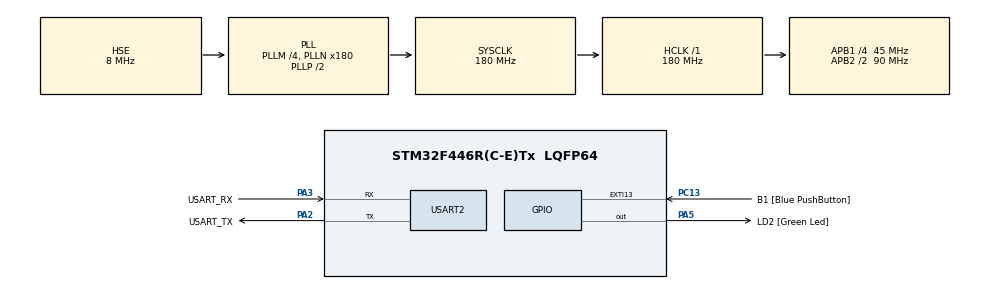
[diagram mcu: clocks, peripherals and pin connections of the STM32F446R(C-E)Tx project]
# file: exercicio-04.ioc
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FREERTOS.Mutexes01=myMutex,Dynamic,NULL,Available
FREERTOS.Tasks01=Task01,32,128,StartTask01,Default,NULL,Dynamic,NULL,NULL;Task02,24,128,StartTask02,Default,NULL,Dynamic,NULL,NULL
FREERTOS.configUSE_NEWLIB_REENTRANT=1
Mcu.Family=STM32F4
Mcu.Name=STM32F446R(C-E)Tx
Mcu.Package=LQFP64
NVIC.EXTI15_10_IRQn=true\:5\:0\:false\:false\:true\:true\:true\:true\:true
NVIC.PriorityGroup=NVIC_PRIORITYGROUP_4
NVIC.TIM2_IRQn=true\:15\:0\:false\:false\:true\:false\:false\:true\:true
NVIC.TimeBase=TIM2_IRQn
NVIC.TimeBaseIP=TIM2
PA13.GPIO_Label=TMS
PA13.Mode=Serial_Wire
PA13.Signal=SYS_JTMS-SWDIO
PA14.GPIO_Label=TCK
PA14.Mode=Serial_Wire
PA14.Signal=SYS_JTCK-SWCLK
PA2.GPIO_Label=USART_TX
PA2.Mode=Asynchronous
PA2.Signal=USART2_TX
PA3.GPIO_Label=USART_RX
PA3.Mode=Asynchronous
PA3.Signal=USART2_RX
PA5.GPIO_Label=LD2 [Green Led]
PA5.Signal=GPIO_Output
PB3.GPIO_Label=SWO
PB3.Signal=SYS_JTDO-SWO
PC13.GPIO_Label=B1 [Blue PushButton]
PC13.GPIO_ModeDefaultEXTI=GPIO_MODE_IT_FALLING
PC13.Signal=GPXTI13
PC14-OSC32_IN.Mode=LSE-External-Oscillator
PC14-OSC32_IN.Signal=RCC_OSC32_IN
PC15-OSC32_OUT.Mode=LSE-External-Oscillator
PC15-OSC32_OUT.Signal=RCC_OSC32_OUT
PH0-OSC_IN.Mode=HSE-External-Oscillator
PH0-OSC_IN.Signal=RCC_OSC_IN
PH1-OSC_OUT.Mode=HSE-External-Oscillator
PH1-OSC_OUT.Signal=RCC_OSC_OUT
ProjectManager.HeapSize=0x200
ProjectManager.StackSize=0x400
ProjectManager.TargetToolchain=STM32CubeIDE
RCC.48MHZClocksFreq_Value=84000000
RCC.AHBFreq_Value=180000000
RCC.APB1CLKDivider=RCC_HCLK_DIV4
RCC.APB1Freq_Value=45000000
RCC.APB1TimFreq_Value=90000000
RCC.APB2CLKDivider=RCC_HCLK_DIV2
RCC.APB2Freq_Value=90000000
RCC.APB2TimFreq_Value=180000000
RCC.CortexFreq_Value=180000000
RCC.FLatency-AdvancedSettings=FLASH_LATENCY_5
RCC.HCLKFreq_Value=180000000
RCC.HSE_VALUE=8000000
RCC.HSI_VALUE=16000000
RCC.PLLM=4
RCC.PLLN=180
RCC.PLLSourceVirtual=RCC_PLLSOURCE_HSE
RCC.SYSCLKFreq_VALUE=180000000
RCC.SYSCLKSource=RCC_SYSCLKSOURCE_PLLCLK
RCC.USBFreq_Value=180000000
RCC.VCOOutputFreq_Value=360000000
USART2.VirtualMode=VM_ASYNC
VP_FREERTOS_VS_CMSIS_V2.Mode=CMSIS_V2
VP_SYS_VS_tim2.Mode=TIM2
board=NUCLEO-F446RE

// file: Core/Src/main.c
/* USER CODE BEGIN Header */
/**
  ******************************************************************************
  * @file           : main.c
  * @brief          : Main program body
  ******************************************************************************
  * @attention
  *
  * Copyright (c) 2025 STMicroelectronics.
  * All rights reserved.
  *
  * This software is licensed under terms that can be found in the LICENSE file
  * in the root directory of this software component.
  * If no LICENSE file comes with this software, it is provided AS-IS.
  *
  ******************************************************************************
  */
/* USER CODE END Header */
#include "main.h"
#include "cmsis_os.h"

/* USER CODE BEGIN Includes */
#include <stdio.h>
#include <string.h>
/* USER CODE END Includes */

UART_HandleTypeDef huart2;

/* Definitions for Task01 */
osThreadId_t Task01Handle;
const osThreadAttr_t Task01_attributes = {
  .name = "Task01",
  .stack_size = 128 * 4,
  .priority = (osPriority_t) osPriorityAboveNormal,
};
/* Definitions for Task02 */
osThreadId_t Task02Handle;
const osThreadAttr_t Task02_attributes = {
  .name = "Task02",
  .stack_size = 128 * 4,
  .priority = (osPriority_t) osPriorityNormal,
};
/* Definitions for myMutex */
osMutexId_t myMutexHandle;
const osMutexAttr_t myMutex_attributes = {
  .name = "myMutex"
};
/* USER CODE BEGIN PV */
char buffer[50];
osStatus_t status;

/* USER CODE END PV */

void SystemClock_Config(void);
static void MX_GPIO_Init(void);
static void MX_USART2_UART_Init(void);
void StartTask01(void *argument);
void StartTask02(void *argument);

int main(void)
{

  /* MCU Configuration--------------------------------------------------------*/

  /* Reset of all peripherals, Initializes the Flash interface and the Systick. */
  HAL_Init();

  /* Configure the system clock */
  SystemClock_Config();

  /* Initialize all configured peripherals */
  MX_GPIO_Init();
  MX_USART2_UART_Init();

  /* Init scheduler */
  osKernelInitialize();
  /* Create the mutex(es) */
  /* creation of myMutex */
  myMutexHandle = osMutexNew(&myMutex_attributes);

  /* Create the thread(s) */
  /* creation of Task01 */
  Task01Handle = osThreadNew(StartTask01, NULL, &Task01_attributes);

  /* creation of Task02 */
  Task02Handle = osThreadNew(StartTask02, NULL, &Task02_attributes);

  /* Start scheduler */
  osKernelStart();

  /* We should never get here as control is now taken by the scheduler */

  /* Infinite loop */
  while (1)
  {

  }
}

void SystemClock_Config(void)
{
  RCC_OscInitTypeDef RCC_OscInitStruct = {0};
  RCC_ClkInitTypeDef RCC_ClkInitStruct = {0};

  /** Configure the main internal regulator output voltage
  */
  __HAL_RCC_PWR_CLK_ENABLE();
  __HAL_PWR_VOLTAGESCALING_CONFIG(PWR_REGULATOR_VOLTAGE_SCALE1);

  /** Initializes the RCC Oscillators according to the specified parameters
  * in the RCC_OscInitTypeDef structure.
  */
  RCC_OscInitStruct.OscillatorType = RCC_OSCILLATORTYPE_HSE;
  RCC_OscInitStruct.HSEState = RCC_HSE_ON;
  RCC_OscInitStruct.PLL.PLLState = RCC_PLL_ON;
  RCC_OscInitStruct.PLL.PLLSource = RCC_PLLSOURCE_HSE;
  RCC_OscInitStruct.PLL.PLLM = 4;
  RCC_OscInitStruct.PLL.PLLN = 180;
  RCC_OscInitStruct.PLL.PLLP = RCC_PLLP_DIV2;
  RCC_OscInitStruct.PLL.PLLQ = 2;
  RCC_OscInitStruct.PLL.PLLR = 2;
  if (HAL_RCC_OscConfig(&RCC_OscInitStruct) != HAL_OK)
  {
    Error_Handler();
  }

  /** Activate the Over-Drive mode
  */
  if (HAL_PWREx_EnableOverDrive() != HAL_OK)
  {
    Error_Handler();
  }

  /** Initializes the CPU, AHB and APB buses clocks
  */
  RCC_ClkInitStruct.ClockType = RCC_CLOCKTYPE_HCLK|RCC_CLOCKTYPE_SYSCLK
                              |RCC_CLOCKTYPE_PCLK1|RCC_CLOCKTYPE_PCLK2;
  RCC_ClkInitStruct.SYSCLKSource = RCC_SYSCLKSOURCE_PLLCLK;
  RCC_ClkInitStruct.AHBCLKDivider = RCC_SYSCLK_DIV1;
  RCC_ClkInitStruct.APB1CLKDivider = RCC_HCLK_DIV4;
  RCC_ClkInitStruct.APB2CLKDivider = RCC_HCLK_DIV2;

  if (HAL_RCC_ClockConfig(&RCC_ClkInitStruct, FLASH_LATENCY_5) != HAL_OK)
  {
    Error_Handler();
  }
}

static void MX_USART2_UART_Init(void)
{

  huart2.Instance = USART2;
  huart2.Init.BaudRate = 115200;
  huart2.Init.WordLength = UART_WORDLENGTH_8B;
  huart2.Init.StopBits = UART_STOPBITS_1;
  huart2.Init.Parity = UART_PARITY_NONE;
  huart2.Init.Mode = UART_MODE_TX_RX;
  huart2.Init.HwFlowCtl = UART_HWCONTROL_NONE;
  huart2.Init.OverSampling = UART_OVERSAMPLING_16;
  if (HAL_UART_Init(&huart2) != HAL_OK)
  {
    Error_Handler();
  }

}

static void MX_GPIO_Init(void)
{
  GPIO_InitTypeDef GPIO_InitStruct = {0};

  /* GPIO Ports Clock Enable */
  __HAL_RCC_GPIOC_CLK_ENABLE();
  __HAL_RCC_GPIOH_CLK_ENABLE();
  __HAL_RCC_GPIOA_CLK_ENABLE();
  __HAL_RCC_GPIOB_CLK_ENABLE();

  /*Configure GPIO pin Output Level */
  HAL_GPIO_WritePin(LD2_GPIO_Port, LD2_Pin, GPIO_PIN_RESET);

  /*Configure GPIO pin : B1_Pin */
  GPIO_InitStruct.Pin = B1_Pin;
  GPIO_InitStruct.Mode = GPIO_MODE_IT_FALLING;
  GPIO_InitStruct.Pull = GPIO_NOPULL;
  HAL_GPIO_Init(B1_GPIO_Port, &GPIO_InitStruct);

  /*Configure GPIO pin : LD2_Pin */
  GPIO_InitStruct.Pin = LD2_Pin;
  GPIO_InitStruct.Mode = GPIO_MODE_OUTPUT_PP;
  GPIO_InitStruct.Pull = GPIO_NOPULL;
  GPIO_InitStruct.Speed = GPIO_SPEED_FREQ_LOW;
  HAL_GPIO_Init(LD2_GPIO_Port, &GPIO_InitStruct);

  /* EXTI interrupt init*/
  HAL_NVIC_SetPriority(EXTI15_10_IRQn, 5, 0);
  HAL_NVIC_EnableIRQ(EXTI15_10_IRQn);

}

void StartTask01(void *argument) {
	/* USER CODE BEGIN 5 */
	/* Infinite loop */
	for (;;) {
		status = osMutexAcquire(myMutexHandle, osWaitForever);

		if (status == osOK) {
			HAL_UART_Transmit(&huart2, (uint8_t*) "enviando task01...\n",
					strlen("enviando task01...\n"), 10);
		}

		osDelay(1000);
	}
	/* USER CODE END 5 */
}

void StartTask02(void *argument)
{
  /* USER CODE BEGIN StartTask02 */
  /* Infinite loop */
	for (;;) {
		HAL_UART_Transmit(&huart2,
				(uint8_t*) "task02 tentando liberar mutex...\n",
				strlen("task02 tentando liberar mutex...\n"), 10);

		status = osMutexRelease(myMutexHandle);

		if (status == osErrorResource) {
			HAL_UART_Transmit(&huart2,
					(uint8_t*) "ERRO - O mutex nao pertence a essa task!\n",
					strlen("ERRO - O mutex nao pertence a essa task!\n"), 10);
		}

		osDelay(1000);
	}
  /* USER CODE END StartTask02 */
}

void HAL_TIM_PeriodElapsedCallback(TIM_HandleTypeDef *htim)
{
  if (htim->Instance == TIM2)
  {
    HAL_IncTick();
  }
}

void Error_Handler(void)
{
  __disable_irq();
  while (1)
  {
  }
}
